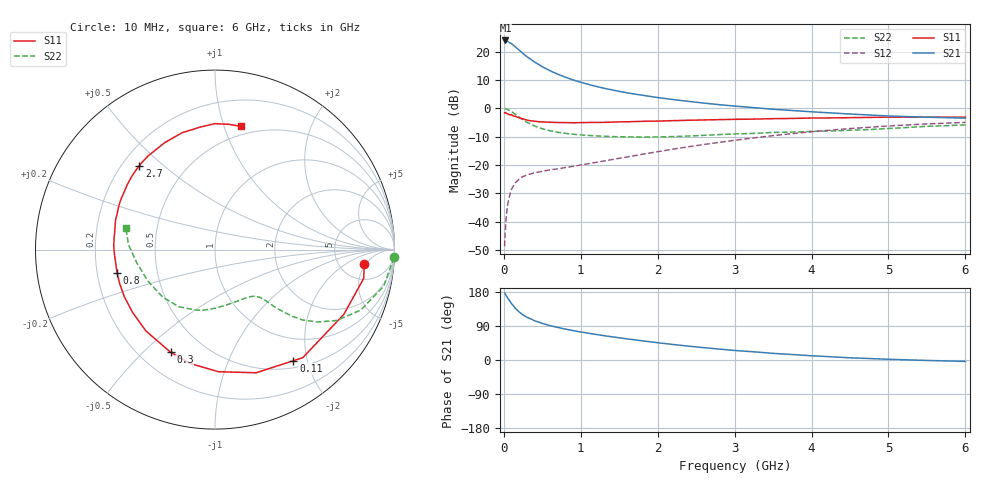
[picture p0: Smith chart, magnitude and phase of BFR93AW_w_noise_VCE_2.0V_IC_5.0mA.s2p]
! Infineon Technologies  Discrete & RF Semiconductors
! BFR93AW
! VCE =  2.0 V,  IC =  5.0 mA
! Common Emitter S-Parameters:  Jan 2017
# GHz  S  MA  R  50
!  f  S11  S21  S12  S22
! GHz  MAG  ANG  MAG  ANG  MAG  ANG  MAG  ANG
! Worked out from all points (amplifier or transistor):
!   77 points, 10 MHz to 6 GHz, reference 50 ohm
!   highest |S21| = 24.0 dB at 20 MHz (marker M1)
!   |S21| within 3 dB of that: start of sweep to 180.8 MHz
!   unconditionally stable (mu >= 1): 992.9 MHz to 2.343 GHz
!   at 130 MHz: K = 0.20, MSG = 24.6 dB, |S12| = -27.1 dB
!   at 2.2 GHz: K = 1.03, MAG = 7.8 dB, |S12| = -14.4 dB
!   at 6 GHz: K = 0.93, MSG = 0.7 dB, |S12| = -4.9 dB
!   lowest NFmin = 1.18 dB at 450 MHz
!   S11 on the Smith chart (normalised r, x): 10 MHz: 8.61, -4.64; 110 MHz: 0.61, -1.77; 300 MHz: 0.32, -0.61; 800 MHz: 0.28, -0.11; 2.7 GHz: 0.27, +0.42; 6 GHz: 0.42, +1.14
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0.01  0.8352 -5.6  15.72 176.7  0.0037 91.8  0.997 -2.5
0.02  0.8441 -10.9  15.82 173.5  0.0074 89.3  0.9858 -5.1
0.05  0.8036 -26.6  15.24 163.4  0.0202 76.3  0.9613 -12.3
0.1  0.7756 -50.9  13.86 148.5  0.0374 66.4  0.8795 -22.5
0.11  0.7576 -54.8  13.48 146.3  0.0396 64.0  0.8595 -23.9
0.15  0.7235 -71.5  12.18 136.3  0.0487 56.6  0.7851 -30.2
0.2  0.6809 -88.3  10.63 126.6  0.0567 51.5  0.6995 -35.2
0.25  0.6496 -102.3  9.321 118.7  0.063 47.4  0.628 -38.7
0.3  0.6231 -113.4  8.196 112.8  0.0666 44.4  0.569 -40.8
0.4  0.5945 -130.4  6.579 103.4  0.0733 42.2  0.4886 -43.1
0.5  0.5772 -142.9  5.434 96.5  0.0774 41.7  0.4369 -44.4
0.6  0.5692 -152.6  4.629 90.8  0.0823 42.0  0.4028 -45.1
0.8  0.561 -166.8  3.557 81.5  0.0904 45.9  0.3624 -47.0
0.9  0.5582 -172.5  3.181 77.6  0.0948 46.9  0.3501 -48.4
1.1  0.5644 178.0  2.652 70.7  0.1057 50.7  0.3334 -51.5
1.5  0.5782 163.4  1.997 58.6  0.1317 55.9  0.3157 -60.8
2.1  0.602 146.1  1.493 43.3  0.1813 59.5  0.3153 -79.3
2.7  0.6292 132.1  1.201 30.7  0.2409 58.5  0.3392 -98.8
3.1  0.6432 123.3  1.071 23.7  0.2848 55.9  0.3565 -110.9
4.1  0.6771 104.1  0.855 10.1  0.3977 45.9  0.3946 -141.3
5.1  0.7013 88.9  0.727 1.3  0.4975 33.3  0.4489 -173.4
6  0.7014 78.0  0.673 -3.7  0.5665 21.7  0.5121 166.1
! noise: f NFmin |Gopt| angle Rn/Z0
0.45  1.18  0.25  77  0.14
0.9  1.5  0.29  137  0.15
1.9  2.75  0.49  -153  0.19
2.4  3.37  0.57  -135  0.38
